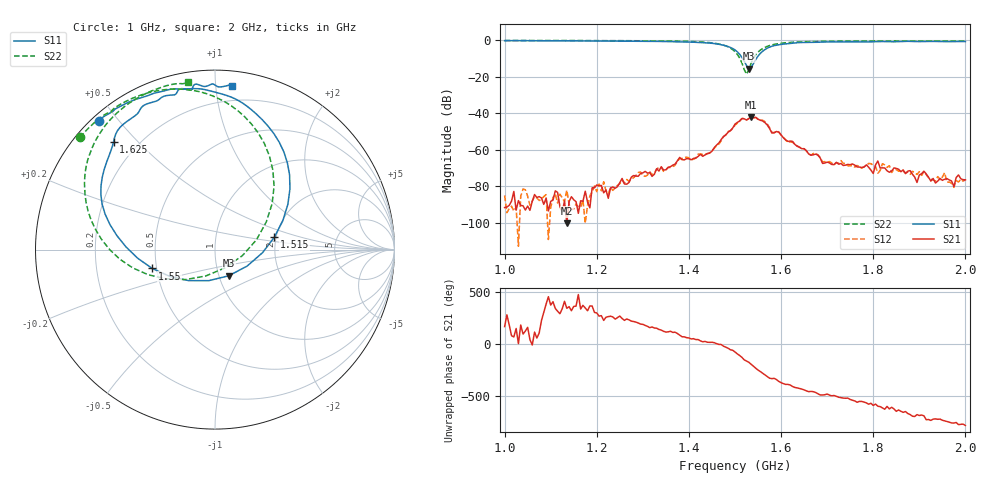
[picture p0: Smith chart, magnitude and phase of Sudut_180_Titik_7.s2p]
# Hz S RI R 50
! CMT, C1220, 16058040, 17.2.0/1
! Date: 14/08/2018 12:14:32
! Data: Format (Calibration Info)
! Freq  S11: Re/Im (F2)  S21: Re/Im (F2)  S12: Re/Im (F2)  S22: Re/Im (F2)
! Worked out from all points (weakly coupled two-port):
!   201 points, 1 GHz to 2 GHz, reference 50 ohm
!   highest |S21| = -42.08 dB at 1.535 GHz (marker M1); lowest = -100.3 dB at 1.135 GHz (marker M2)
!   lowest |S11| = -15.7 dB at 1.53 GHz (marker M3), VSWR 1.39, Z = 55.7 - j16.7 ohm
!   |S11| at or under -10 dB: 1.516 GHz to 1.547 GHz (30.32 MHz wide, 1.98 % of centre)
!   |S22| runs from -18.7 to -0.2 dB; largest |S21 - S12| = 0.00051
!   S11 on the Smith chart (normalised r, x): 1 GHz: 0.02, +0.44; 1.515 GHz: 1.96, +0.31; 1.55 GHz: 0.47, -0.11; 1.625 GHz: 0.11, +0.43; 2 GHz: 0.10, +1.11
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1e9  -0.6472 0.7145  -2.55e-05 4.22e-06  -5.5e-05 -3.94e-06  -0.7536 0.6248
1.135e9  -0.5091 0.8072  9.37e-06 -2.12e-06  7.46e-05 -1.99e-05  -0.6509 0.7253
1.17e9  -0.478 0.8225  3.71e-05 1.02e-05  2.47e-05 3.38e-05  -0.6168 0.7506
1.335e9  -0.2196 0.8957  -0.000207 0.000154  -0.000258 0.000199  -0.4005 0.8652
1.445e9  0.1532 0.8167  0.000754 0.000266  0.000787 0.000227  -0.00895 0.8545
1.5e9  0.4175 0.3387  0.00148 -0.00478  0.00132 -0.00449  0.3292 0.3527
1.515e9  0.3308 0.0692  -0.00405 -0.00579  -0.00394 -0.00597  0.2307 0.0542
1.53e9  0.0766 -0.1459  -0.00701 -0.000954  -0.00698 -0.000993  -0.051 -0.1469
1.535e9  -0.0353 -0.1731  -0.00771 0.00158  -0.00767 0.0016  -0.1642 -0.1671
1.55e9  -0.3496 -0.1052  -0.0026 0.00629  -0.00286 0.00615  -0.4589 -0.1016
1.625e9  -0.5648 0.601  0.00117 -0.0012  0.0011 -0.00117  -0.7017 0.5217
1.67e9  -0.446 0.7452  -6.98e-05 -0.000718  -7.52e-05 -0.000779  -0.6251 0.6725
1.8e9  -0.2076 0.8844  -0.000149 0.000165  -0.00032 0.000193  -0.4244 0.8488
1.81e9  -0.1954 0.8951  -0.000277 0.000399  0.000164 0.000154  -0.4109 0.857
1.835e9  -0.144 0.889  -3.77e-05 0.000236  -8.84e-05 0.000351  -0.377 0.8738
1.88e9  -0.0967 0.9205  0.000187 0.000188  0.000127 0.000168  -0.3136 0.8993
1.895e9  -0.0662 0.9098  9.02e-05 8.76e-05  0.000183 9.95e-05  -0.292 0.9065
1.91e9  -0.0381 0.9134  0.000215 0.000138  0.000235 8.02e-05  -0.2722 0.9128
1.935e9  -0.00656 0.9211  0.000121 5.99e-06  0.000137 -1.34e-05  -0.2361 0.9209
1.955e9  0.0205 0.9066  0.000148 -4.34e-05  0.000213 -9.61e-05  -0.205 0.9246
1.975e9  0.0625 0.9119  7.73e-05 -5.89e-05  7.68e-05 -5.15e-05  -0.1801 0.924
2e9  0.0958 0.9131  7.36e-05 -0.000129  4.8e-05 -0.000141  -0.1525 0.933
